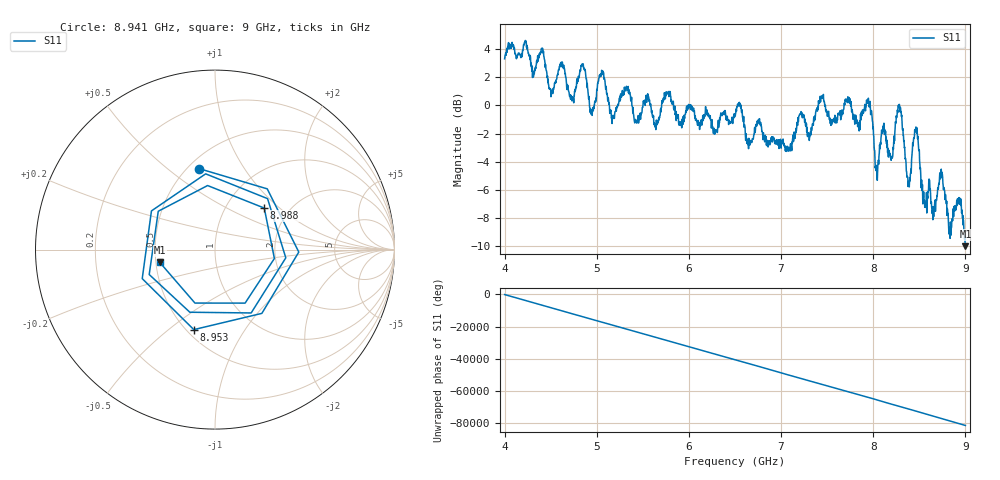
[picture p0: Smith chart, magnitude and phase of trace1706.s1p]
! Created with skrf 1.8.0 (http://scikit-rf.org).
# Hz S RI R 50.0
!freq ReS11 ImS11
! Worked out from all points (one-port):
!   1601 points, 4 GHz to 9 GHz, reference 50 ohm
!   lowest |S11| = -10.0 dB at 9 GHz (marker M1), VSWR 1.92, Z = 26.2 - j4.13 ohm
!   |S11| at or under -10 dB: 8.999901 GHz to end of sweep
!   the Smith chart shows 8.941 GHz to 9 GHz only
!   S11 on the Smith chart (normalised r, x): 8.941 GHz: 0.57, +0.65; 8.953 GHz: 0.54, -0.62; 8.988 GHz: 1.50, +0.80; 9 GHz: 0.52, -0.08
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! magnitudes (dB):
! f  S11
! 4 GHz  3.3
! 4.403 GHz  4.1
! 4.506 GHz  0.9
! 4.625 GHz  3.1
! 4.731 GHz  0.3
! 4.853 GHz  3.0
! 4.947 GHz  -0.4
! 5.05 GHz  2.1
! 5.166 GHz  -1.3
! 5.25 GHz  0.3
! 5.875 GHz  -0.8
! 6.5 GHz  -0.7
! 7.125 GHz  -2.4
! 7.434 GHz  0.5
! 7.75 GHz  0.3
! 7.959 GHz  0.0
! 8.041 GHz  -5.0
! 8.2 GHz  -3.7
! 8.288 GHz  -0.2
! 8.375 GHz  -5.1
! 8.462 GHz  -1.5
! 8.562 GHz  -7.1
! 8.734 GHz  -4.9
! 8.834 GHz  -9.4
! 8.941 GHz  -6.7
! 8.953 GHz  -6.7
! 8.988 GHz  -8.9
! 9 GHz  -10.0
